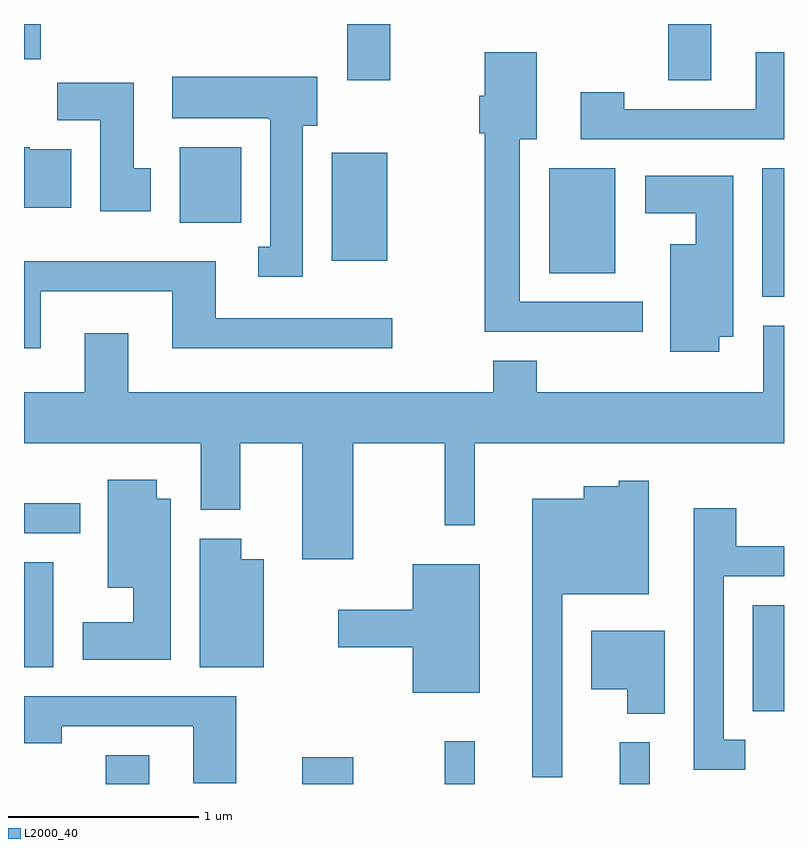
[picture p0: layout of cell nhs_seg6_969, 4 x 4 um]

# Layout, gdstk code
import gdstk
lib = gdstk.Library(unit=1e-6, precision=1e-09)
def R(c, l, rs):  # rectangles x0, y0, x1, y1
    for r in rs: c.add(gdstk.rectangle(r[:2], r[2:], *l))
def P(c, l, *ps):  # polygons
    for p in ps: c.add(gdstk.Polygon(p, *l))
L2000_40 = (2000, 40)

nhs_seg6_969 = lib.new_cell('nhs_seg6_969')
R(nhs_seg6_969, L2000_40, [(214.041,1628.162,214.269,1628.314), (215.076,1628.162,215.344,1628.304), (215.826,1628.162,215.984,1628.388), (216.746,1628.162,216.904,1628.383), (217.446,1628.546,217.611,1629.104), (213.611,1628.776,213.764,1629.329), (213.611,1629.481,213.908,1629.639), (217.496,1630.726,217.611,1631.404), (216.376,1630.851,216.724,1631.404), (215.231,1630.916,215.524,1631.484), (214.431,1631.116,214.754,1631.514), (215.311,1631.866,215.539,1632.162), (217.001,1631.866,217.229,1632.162), (213.611,1631.976,213.699,1632.162)])
P(nhs_seg6_969, L2000_40, [(217.611,1632.014),(217.461,1632.014),(217.461,1631.714),(216.769,1631.714),(216.769,1631.804),(216.541,1631.804),(216.541,1631.556),(217.611,1631.556)],
  [(216.868,1630.699),(216.219,1630.699),(216.219,1631.556),(216.309,1631.556),(216.309,1632.014),(216.036,1632.014),(216.036,1631.784),(216.006,1631.784),(216.006,1631.586),(216.036,1631.586),(216.036,1630.541),(216.868,1630.541)],
  [(215.079,1631.626),(215.154,1631.626),(215.154,1631.884),(214.391,1631.884),(214.391,1631.666),(214.9,1631.666),(214.9,1631.66),(214.906,1631.66),(214.906,1630.989),(214.843,1630.989),(214.843,1630.831),(215.079,1630.831)],
  [(214.279,1631.404),(214.189,1631.404),(214.189,1631.854),(213.786,1631.854),(213.786,1631.656),(214.011,1631.656),(214.011,1631.176),(214.279,1631.176)],
  [(213.859,1631.504),(213.64,1631.504),(213.64,1631.514),(213.611,1631.514),(213.611,1631.196),(213.859,1631.196)],
  [(217.269,1630.516),(217.344,1630.516),(217.344,1631.364),(216.881,1631.364),(216.881,1631.166),(217.146,1631.166),(217.146,1631.004),(217.011,1631.004),(217.011,1630.436),(217.269,1630.436)],
  [(213.699,1630.756),(214.391,1630.756),(214.391,1630.456),(215.548,1630.456),(215.548,1630.614),(214.619,1630.614),(214.619,1630.914),(213.611,1630.914),(213.611,1630.456),(213.699,1630.456)],
  [(215.344,1629.956),(215.826,1629.956),(215.826,1629.523),(215.984,1629.523),(215.984,1629.956),(217.611,1629.956),(217.611,1630.574),(217.501,1630.574),(217.501,1630.224),(216.309,1630.224),(216.309,1630.389),(216.081,1630.389),(216.081,1630.224),(214.159,1630.224),(214.159,1630.534),(213.931,1630.534),(213.931,1630.224),(213.611,1630.224),(213.611,1629.956),(214.541,1629.956),(214.541,1629.606),(214.749,1629.606),(214.749,1629.956),(215.076,1629.956),(215.076,1629.346),(215.344,1629.346)],
  [(214.384,1629.664),(214.309,1629.664),(214.309,1629.764),(214.051,1629.764),(214.051,1629.196),(214.186,1629.196),(214.186,1629.014),(213.921,1629.014),(213.921,1628.816),(214.384,1628.816)],
  [(216.444,1629.161),(216.899,1629.161),(216.899,1629.759),(216.741,1629.759),(216.741,1629.729),(216.556,1629.729),(216.556,1629.664),(216.286,1629.664),(216.286,1628.198),(216.444,1628.198)],
  [(217.408,1628.394),(217.294,1628.394),(217.294,1629.256),(217.611,1629.256),(217.611,1629.414),(217.359,1629.414),(217.359,1629.614),(217.136,1629.614),(217.136,1628.236),(217.408,1628.236)],
  [(214.874,1629.344),(214.754,1629.344),(214.754,1629.454),(214.536,1629.454),(214.536,1628.776),(214.874,1628.776)],
  [(216.009,1629.319),(215.656,1629.319),(215.656,1629.079),(215.266,1629.079),(215.266,1628.881),(215.656,1628.881),(215.656,1628.641),(216.009,1628.641)],
  [(216.984,1628.969),(216.596,1628.969),(216.596,1628.661),(216.786,1628.661),(216.786,1628.531),(216.984,1628.531)],
  [(214.729,1628.624),(213.611,1628.624),(213.611,1628.376),(213.809,1628.376),(213.809,1628.466),(214.501,1628.466),(214.501,1628.166),(214.729,1628.166)])

lib.write_gds('nhs_seg6_969.gds')
